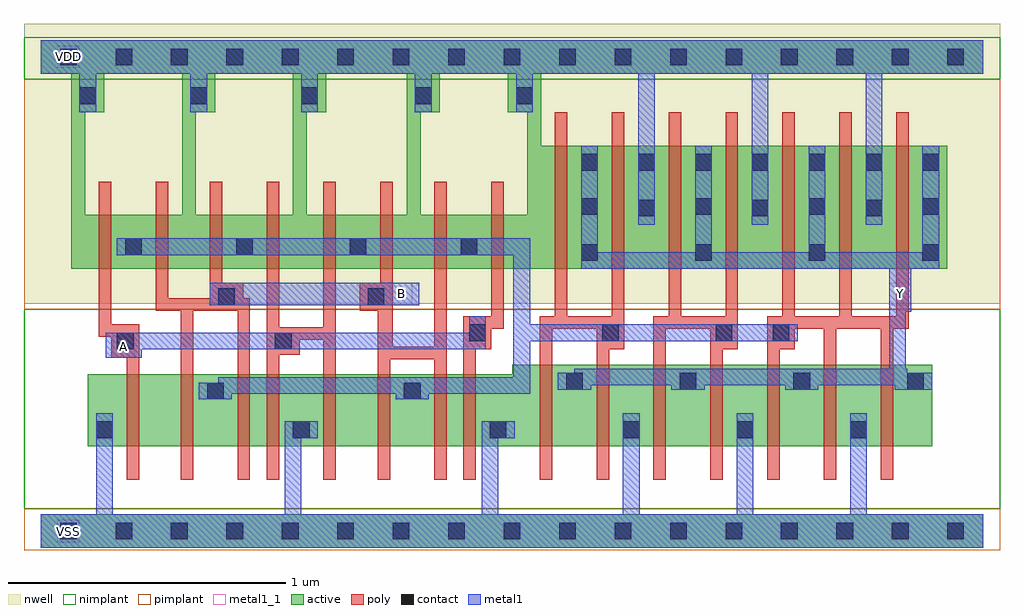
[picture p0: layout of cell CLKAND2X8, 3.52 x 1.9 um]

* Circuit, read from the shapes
.subckt CLKAND2X8 A B VDD VSS Y
M1 n1 A VSS VSS nfet w=0.26u l=0.045u
M2 n2 B n1 VSS nfet w=0.26u l=0.045u
M3 n3 B n2 VSS nfet w=0.26u l=0.045u
M4 VSS A n3 VSS nfet w=0.26u l=0.045u
M5 n4 A VSS VSS nfet w=0.26u l=0.045u
M6 n2 B n4 VSS nfet w=0.26u l=0.045u
M7 n5 B n2 VSS nfet w=0.26u l=0.045u
M8 VSS A n5 VSS nfet w=0.26u l=0.045u
M9 Y n2 VSS VSS nfet w=0.295u l=0.045u m=7
M10 n2 A VDD VDD pfet w=0.195u l=0.045u m=4
M11 VDD B n2 VDD pfet w=0.195u l=0.045u m=4
M12 Y n2 VDD VDD pfet w=0.445u l=0.045u m=7
.ends

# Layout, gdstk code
import gdstk
lib = gdstk.Library(unit=1e-6, precision=5e-10)
def R(c, l, rs):  # rectangles x0, y0, x1, y1
    for r in rs: c.add(gdstk.rectangle(r[:2], r[2:], *l))
def A(c, l, x, y, w, h, nx, ny, dx, dy):  # array of equal rectangles
    R(c, l, [(x+i*dx, y+j*dy, x+i*dx+w, y+j*dy+h) for i in range(nx) for j in range(ny)])
def P(c, l, *ps):  # polygons
    for p in ps: c.add(gdstk.Polygon(p, *l))
active = (1, 0)
nwell = (2, 0)
poly = (3, 0)
nimplant = (4, 0)
pimplant = (5, 0)
contact = (6, 0)
metal1 = (7, 0)
metal1_1 = (7, 1)

clkand2x8 = lib.new_cell('CLKAND2X8')
R(clkand2x8, active, [(0,-0.06,3.4,0.06)])
P(clkand2x8, active, [(0,1.77),(3.4,1.77),(3.4,1.65),(1.805,1.65),(1.805,1.39),(3.27,1.39),(3.27,0.945),(0.11,0.945),(0.11,1.65),(0.23,1.65),(0.23,1.51),(0.16,1.51),(0.16,1.14),(0.51,1.14),(0.51,1.65),(0.63,1.65),(0.63,1.51),(0.56,1.51),(0.56,1.14),(0.91,1.14),(0.91,1.65),(1.03,1.65),(1.03,1.51),(0.96,1.51),(0.96,1.14),(1.32,1.14),(1.32,1.65),(1.44,1.65),(1.44,1.51),(1.37,1.51),(1.37,1.14),(1.755,1.14),(1.755,1.51),(1.685,1.51),(1.685,1.65),(0,1.65)],
  [(1.7,0.6),(3.215,0.6),(3.215,0.305),(0.17,0.305),(0.17,0.565),(1.7,0.565)])
R(clkand2x8, nwell, [(-0.06,0.82,3.46,1.83)])
P(clkand2x8, poly, [(1.855,1.51),(1.9,1.51),(1.9,0.775),(2.06,0.775),(2.06,1.51),(2.105,1.51),(2.105,0.655),(2.05,0.655),(2.05,0.185),(2.005,0.185),(2.005,0.73),(1.845,0.73),(1.845,0.185),(1.8,0.185),(1.8,0.775),(1.855,0.775)],
  [(2.265,1.51),(2.31,1.51),(2.31,0.775),(2.47,0.775),(2.47,1.51),(2.515,1.51),(2.515,0.655),(2.46,0.655),(2.46,0.185),(2.415,0.185),(2.415,0.73),(2.255,0.73),(2.255,0.185),(2.21,0.185),(2.21,0.775),(2.265,0.775)],
  [(2.675,1.51),(2.72,1.51),(2.72,0.775),(2.88,0.775),(2.88,1.51),(2.925,1.51),(2.925,0.775),(3.085,0.775),(3.085,1.51),(3.13,1.51),(3.13,0.73),(3.075,0.73),(3.075,0.185),(3.03,0.185),(3.03,0.73),(2.87,0.73),(2.87,0.185),(2.825,0.185),(2.825,0.73),(2.72,0.73),(2.72,0.655),(2.665,0.655),(2.665,0.185),(2.62,0.185),(2.62,0.775),(2.675,0.775)],
  [(0.21,1.26),(0.255,1.26),(0.255,0.745),(0.355,0.745),(0.355,0.185),(0.31,0.185),(0.31,0.625),(0.255,0.625),(0.255,0.7),(0.21,0.7)],
  [(0.415,1.26),(0.46,1.26),(0.46,0.84),(0.61,0.84),(0.61,1.26),(0.655,1.26),(0.655,0.895),(0.73,0.895),(0.73,0.84),(0.755,0.84),(0.755,0.185),(0.71,0.185),(0.71,0.795),(0.55,0.795),(0.55,0.185),(0.505,0.185),(0.505,0.795),(0.415,0.795)],
  [(0.815,1.26),(0.86,1.26),(0.86,0.735),(1.02,0.735),(1.02,1.26),(1.065,1.26),(1.065,0.185),(1.02,0.185),(1.02,0.69),(0.935,0.69),(0.935,0.635),(0.86,0.635),(0.86,0.185),(0.815,0.185)],
  [(1.225,1.26),(1.27,1.26),(1.27,0.665),(1.42,0.665),(1.42,1.26),(1.465,1.26),(1.465,0.185),(1.42,0.185),(1.42,0.62),(1.26,0.62),(1.26,0.185),(1.215,0.185),(1.215,0.795),(1.15,0.795),(1.15,0.895),(1.225,0.895)],
  [(1.625,1.26),(1.67,1.26),(1.67,0.73),(1.625,0.73),(1.625,0.655),(1.57,0.655),(1.57,0.185),(1.525,0.185),(1.525,0.775),(1.625,0.775)])
R(clkand2x8, nimplant, [(-0.06,0.08,3.46,0.8), (-0.06,1.63,3.46,1.78)])
R(clkand2x8, pimplant, [(-0.06,-0.07,3.46,0.08), (-0.06,0.8,3.46,1.63)])
A(clkand2x8, contact, 0.07, -0.03, 0.06, 0.06, 17, 2, 0.2, 1.71)
A(clkand2x8, contact, 0.2, 0.335, 0.06, 0.06, 3, 1, 0.71, 0)
A(clkand2x8, contact, 2.1, 0.335, 0.06, 0.06, 3, 1, 0.41, 0)
A(clkand2x8, contact, 1.895, 0.51, 0.06, 0.06, 4, 1, 0.41, 0)
A(clkand2x8, contact, 1.95, 0.975, 0.06, 0.06, 4, 2, 0.41, 0.165)
A(clkand2x8, contact, 2.155, 1.135, 0.06, 0.06, 3, 1, 0.41, 0)
A(clkand2x8, contact, 1.95, 1.3, 0.06, 0.06, 7, 1, 0.205, 0)
A(clkand2x8, contact, 0.14, 1.54, 0.06, 0.06, 3, 1, 0.4, 0)
R(clkand2x8, contact, [(0.6,0.475,0.66,0.535), (1.31,0.475,1.37,0.535), (0.275,0.655,0.335,0.715), (0.845,0.655,0.905,0.715), (1.545,0.685,1.605,0.745), (2.025,0.685,2.085,0.745), (2.435,0.685,2.495,0.745), (2.64,0.685,2.7,0.745), (0.64,0.815,0.7,0.875), (1.18,0.815,1.24,0.875), (0.305,0.995,0.365,1.055), (0.705,0.995,0.765,1.055), (1.115,0.995,1.175,1.055), (1.515,0.995,1.575,1.055), (1.35,1.54,1.41,1.6), (1.715,1.54,1.775,1.6)])
R(clkand2x8, metal1, [(0.61,0.815,1.365,0.895)])
P(clkand2x8, metal1, [(0,1.77),(3.4,1.77),(3.4,1.65),(3.035,1.65),(3.035,1.105),(2.975,1.105),(2.975,1.65),(2.625,1.65),(2.625,1.105),(2.565,1.105),(2.565,1.65),(2.215,1.65),(2.215,1.105),(2.155,1.105),(2.155,1.65),(1.775,1.65),(1.775,1.51),(1.715,1.51),(1.715,1.65),(1.41,1.65),(1.41,1.51),(1.35,1.51),(1.35,1.65),(1,1.65),(1,1.51),(0.94,1.51),(0.94,1.65),(0.6,1.65),(0.6,1.51),(0.54,1.51),(0.54,1.65),(0.2,1.65),(0.2,1.51),(0.14,1.51),(0.14,1.65),(0,1.65)],
  [(1.95,1.39),(2.01,1.39),(2.01,1.005),(2.36,1.005),(2.36,1.39),(2.42,1.39),(2.42,1.005),(2.77,1.005),(2.77,1.39),(2.83,1.39),(2.83,1.005),(3.18,1.005),(3.18,1.39),(3.24,1.39),(3.24,0.945),(3.14,0.945),(3.14,0.79),(3.12,0.79),(3.12,0.585),(3.125,0.585),(3.125,0.57),(3.215,0.57),(3.215,0.51),(3.08,0.51),(3.08,0.525),(2.805,0.525),(2.805,0.51),(2.685,0.51),(2.685,0.525),(2.395,0.525),(2.395,0.51),(2.275,0.51),(2.275,0.525),(1.985,0.525),(1.985,0.51),(1.865,0.51),(1.865,0.57),(1.925,0.57),(1.925,0.585),(3.06,0.585),(3.06,0.945),(1.95,0.945)],
  [(0.275,1.055),(1.765,1.055),(1.765,0.745),(2.73,0.745),(2.73,0.685),(1.765,0.685),(1.765,0.495),(1.4,0.495),(1.4,0.475),(1.28,0.475),(1.28,0.495),(0.69,0.495),(0.69,0.475),(0.57,0.475),(0.57,0.535),(0.64,0.535),(0.64,0.555),(1.705,0.555),(1.705,0.995),(0.275,0.995)],
  [(1.545,0.775),(1.605,0.775),(1.605,0.655),(0.365,0.655),(0.365,0.625),(0.235,0.625),(0.235,0.715),(1.545,0.715)],
  [(0.2,0.425),(0.26,0.425),(0.26,0.06),(0.88,0.06),(0.88,0.395),(1,0.395),(1,0.335),(0.94,0.335),(0.94,0.06),(1.59,0.06),(1.59,0.395),(1.71,0.395),(1.71,0.335),(1.65,0.335),(1.65,0.06),(2.1,0.06),(2.1,0.425),(2.16,0.425),(2.16,0.06),(2.51,0.06),(2.51,0.425),(2.57,0.425),(2.57,0.06),(2.92,0.06),(2.92,0.425),(2.98,0.425),(2.98,0.06),(3.4,0.06),(3.4,-0.06),(0,-0.06),(0,0.06),(0.2,0.06)])
R(clkand2x8, metal1_1, [(0.06,-0.04,0.14,0.04), (0.26,0.625,0.34,0.705), (1.26,0.815,1.34,0.895), (3.06,0.815,3.14,0.895), (0.06,1.67,0.14,1.75)])
clkand2x8.add(gdstk.Label('Y', (3.1,0.855), layer=7, texttype=1))
clkand2x8.add(gdstk.Label('B', (1.3,0.855), layer=7, texttype=1))
clkand2x8.add(gdstk.Label('A', (0.3,0.665), layer=7, texttype=1))
clkand2x8.add(gdstk.Label('VDD', (0.1,1.71), layer=7, texttype=1))
clkand2x8.add(gdstk.Label('VSS', (0.1,0), layer=7, texttype=1))
clkand2x8.add(gdstk.Label('CLKAND2X8', (0,0), layer=63, texttype=0))

lib.write_gds('CLKAND2X8.gds')
